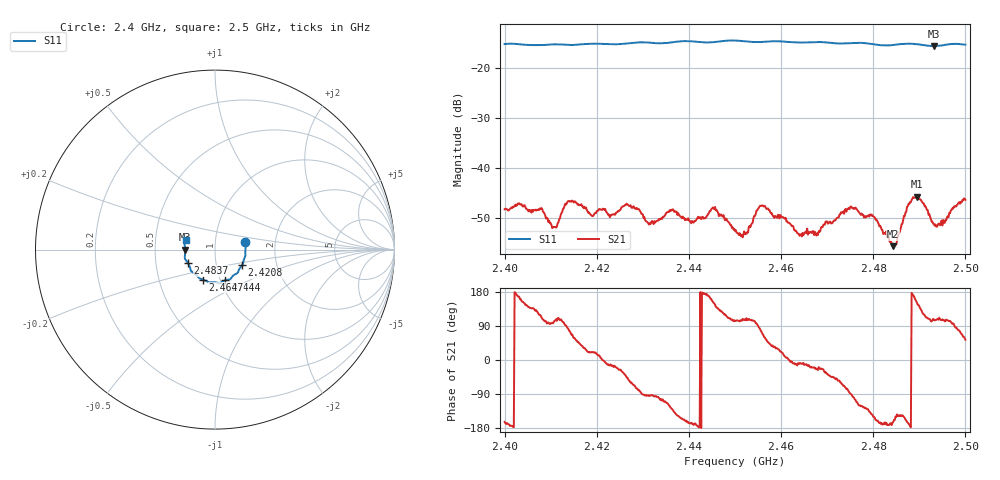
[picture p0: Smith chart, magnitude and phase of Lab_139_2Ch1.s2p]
# Hz S RI R 50
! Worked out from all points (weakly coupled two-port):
!   601 points, 2.4 GHz to 2.5 GHz, reference 50 ohm
!   highest |S21| = -45.73 dB at 2.4895 GHz (marker M1); lowest = -55.6 dB at 2.4843 GHz (marker M2)
!   lowest |S11| = -15.6 dB at 2.4932 GHz (marker M3), VSWR 1.40, Z = 35.8 - j0.0896 ohm
!   |S11| at or under -10 dB: start of sweep to end of sweep
!   S12 and S22 are empty: the file has one direction only
!   S11 on the Smith chart (normalised r, x): 2.4 GHz: 1.40, +0.12; 2.4208 GHz: 1.33, -0.24; 2.444 GHz: 1.06, -0.37; 2.4647 GHz: 0.83, -0.29; 2.4837 GHz: 0.73, -0.11; 2.5 GHz: 0.72, +0.08
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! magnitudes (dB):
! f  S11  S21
! 2.4 GHz  -15.2  -48.3
! 2.4078 GHz  -15.4  -48.2
! 2.4108 GHz  -15.3  -51.8
! 2.4135 GHz  -15.4  -47.1
! 2.4167 GHz  -15.3  -47.3
! 2.4208 GHz  -15.2  -48.3
! 2.4268 GHz  -15.1  -47.4
! 2.4333 GHz  -15.0  -50.5
! 2.444 GHz  -14.9  -49.5
! 2.4457 GHz  -14.8  -47.8
! 2.45 GHz  -14.5  -52.6
! 2.4522 GHz  -14.7  -53.3
! 2.456 GHz  -14.8  -47.5
! 2.4647 GHz  -14.9  -53.0
! 2.4667 GHz  -14.8  -53.0
! 2.4755 GHz  -15.0  -48.0
! 2.4833 GHz  -15.5  -53.7
! 2.4837 GHz  -15.5  -54.8
! 2.4843 GHz  -15.4  -55.6
! 2.4895 GHz  -15.2  -45.7
! 2.4932 GHz  -15.6  -51.2
! 2.5 GHz  -15.3  -46.4
